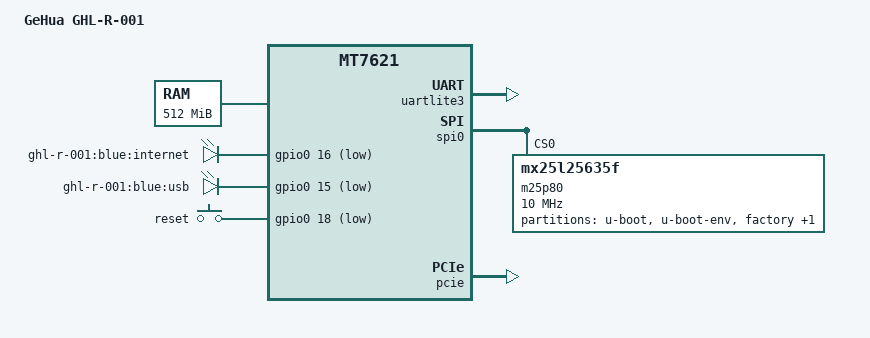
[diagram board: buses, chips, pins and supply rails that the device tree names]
// SPDX-License-Identifier: GPL-2.0-or-later OR MIT
/dts-v1/;

#include "mt7621.dtsi"

#include <dt-bindings/gpio/gpio.h>
#include <dt-bindings/input/input.h>

/ {
	model = "GeHua GHL-R-001";

	memory@0 {
		device_type = "memory";
		reg = <0x0 0x1c000000>, <0x20000000 0x4000000>;
	};

	chosen {
		bootargs = "console=ttyS0,57600";
	};

	leds {
		compatible = "gpio-leds";

		internet {
			label = "ghl-r-001:blue:internet";
			gpios = <&gpio0 16 1>;
		};

		usb {
			label = "ghl-r-001:blue:usb";
			gpios = <&gpio0 15 1>;
		};
	};

	keys {
		compatible = "gpio-keys-polled";
		poll-interval = <20>;

		reset {
			label = "reset";
			gpios = <&gpio0 18 1>;
			linux,code = <KEY_RESTART>;
		};
	};
};

&uartlite3 {
	status = "okay";
};

&spi0 {
	status = "okay";

	m25p80@0 {
		compatible = "mx25l25635f", "jedec,spi-nor";
		reg = <0>;
		spi-max-frequency = <10000000>;
		m25p,chunked-io = <32>;
		m25p,fast-read;

		partitions {
			compatible = "fixed-partitions";
			#address-cells = <1>;
			#size-cells = <1>;

			partition@0 {
				label = "u-boot";
				reg = <0x0 0x30000>;
			};

			partition@30000 {
				label = "u-boot-env";
				reg = <0x30000 0x10000>;
			};

			factory: partition@40000 {
				label = "factory";
				reg = <0x40000 0x10000>;
			};

			partition@50000 {
				label = "firmware";
				reg = <0x50000 0x1fb0000>;
			};
		};
	};
};


&pcie {
	status = "okay";

		pcie0 {
			mt76@0,0 {
				reg = <0x0000 0 0 0 0>;
				device_type = "pci";
				mediatek,mtd-eeprom = <&factory 0x0000>;
				ieee80211-freq-limit = <2400000 2500000>;
			};
		};

		pcie1 {
			mt76@1,0 {
				reg = <0x0000 0 0 0 0>;
				device_type = "pci";
				mediatek,mtd-eeprom = <&factory 0x8000>;
				ieee80211-freq-limit = <5000000 6000000>;
				led {
				led-sources = <2>;
				led-active-low;
				};
			};
		};
	};

&ethernet {
	mtd-mac-address = <&factory 0xe000>;
};

&pinctrl {
	state_default: pinctrl0 {
		gpio {
			ralink,group = "jtag", "wdt";
			ralink,function = "gpio";
		};
	};
};
